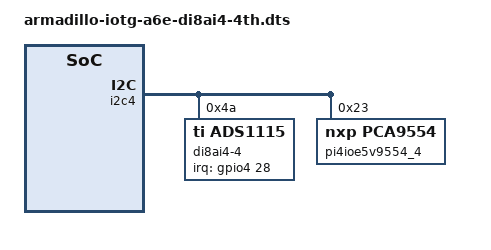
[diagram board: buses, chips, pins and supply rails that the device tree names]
// SPDX-License-Identifier: (GPL-2.0 OR MIT)
/*
 * Copyright (C) 2023 Atmark Techno, Inc. All Rights Reserved.
 */

/dts-v1/;
/plugin/;

#include "imx6ull-pinfunc.h"
#include <dt-bindings/interrupt-controller/irq.h>

&{/} {
	aliases {
		/* Aliases are represented by a string to a full node path.
		 * For overlays, specifying &adc5 will incorrectly result in a path
		 * within a fragment, which is not fixed at apply time.
		 * Specify the full path of the merged node directly.
		 */
		gpio9 = "/soc/bus@2100000/i2c@21f8000/gpio@23";
		iio4 = "/soc/bus@2100000/i2c@21f8000/adc@4A";
	};
};

&i2c4 {
	#address-cells = <1>;
	#size-cells = <0>;

	adc5: adc@4A {
		compatible = "ti,ads1115";
		reg = <0x4A>;
		label = "di8ai4-4";

		#address-cells = <1>;
		#size-cells = <0>;

		#io-channel-cells = <1>;

		interrupt-parent = <&gpio4>;
		interrupts = <28 IRQ_TYPE_LEVEL_LOW>;

		channel@4 {
			reg = <4>;
			ti,gain = <0>;
			ti,datarate = <4>;
		};

		channel@5 {
			reg = <5>;
			ti,gain = <0>;
			ti,datarate = <4>;
		};

		channel@6 {
			reg = <6>;
			ti,gain = <0>;
			ti,datarate = <4>;
		};

		channel@7 {
			reg = <7>;
			ti,gain = <0>;
			ti,datarate = <4>;
		};
	};

	pi4ioe5v9554_4: gpio@23 {
		compatible = "nxp,pca9554";
		reg = <0x23>;

		gpio-controller;
		#gpio-cells = <2>;
	};
};

&pi4ioe5v9554_4 {
	gpio-line-names =
		/* PI4IOE5V9554_4_00 - 03 */ "DI27", "DI28", "DI29", "DI30",
		/* PI4IOE5V9554_4_04 - 07 */ "DI31", "DI32", "DI33", "DI34";
};
